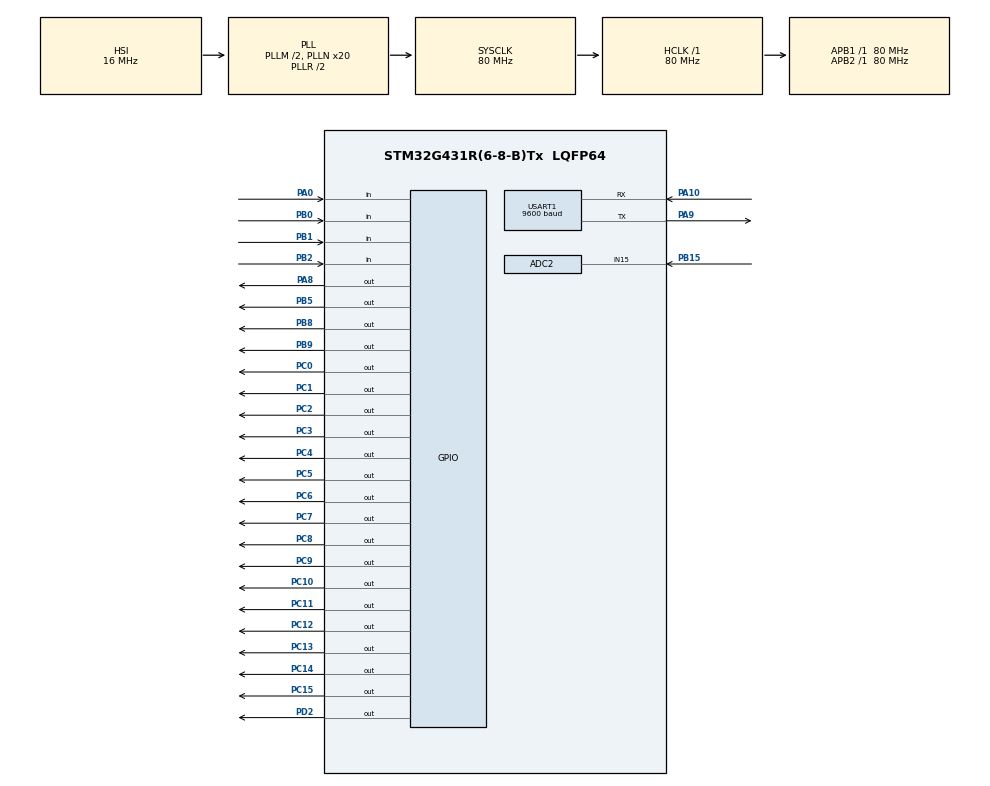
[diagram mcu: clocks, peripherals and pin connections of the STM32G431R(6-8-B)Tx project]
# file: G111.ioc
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ADC2.Channel-0\#ChannelRegularConversion=ADC_CHANNEL_15
ADC2.NbrOfConversionFlag=1
ADC2.OffsetNumber-0\#ChannelRegularConversion=ADC_OFFSET_NONE
ADC2.Rank-0\#ChannelRegularConversion=1
ADC2.SamplingTime-0\#ChannelRegularConversion=ADC_SAMPLETIME_2CYCLES_5
Mcu.Family=STM32G4
Mcu.Name=STM32G431R(6-8-B)Tx
Mcu.Package=LQFP64
NVIC.PriorityGroup=NVIC_PRIORITYGROUP_4
NVIC.USART1_IRQn=true\:0\:0\:false\:false\:true\:true\:true\:true
PA0.Signal=GPIO_Input
PA10.Mode=Asynchronous
PA10.Signal=USART1_RX
PA8.Signal=GPIO_Output
PA9.Mode=Asynchronous
PA9.Signal=USART1_TX
PB0.Signal=GPIO_Input
PB1.Signal=GPIO_Input
PB15.Mode=IN15-Single-Ended
PB15.Signal=ADC2_IN15
PB2.Signal=GPIO_Input
PB5.Signal=GPIO_Output
PB8-BOOT0.Signal=GPIO_Output
PB9.Signal=GPIO_Output
PC0.Signal=GPIO_Output
PC1.Signal=GPIO_Output
PC10.Signal=GPIO_Output
PC11.Signal=GPIO_Output
PC12.Signal=GPIO_Output
PC13.Signal=GPIO_Output
PC14-OSC32_IN.Signal=GPIO_Output
PC15-OSC32_OUT.Signal=GPIO_Output
PC2.Signal=GPIO_Output
PC3.Signal=GPIO_Output
PC4.Signal=GPIO_Output
PC5.Signal=GPIO_Output
PC6.Signal=GPIO_Output
PC7.Signal=GPIO_Output
PC8.Signal=GPIO_Output
PC9.Signal=GPIO_Output
PD2.Signal=GPIO_Output
PF0-OSC_IN.Mode=HSE-External-Oscillator
PF0-OSC_IN.Signal=RCC_OSC_IN
PF1-OSC_OUT.Mode=HSE-External-Oscillator
PF1-OSC_OUT.Signal=RCC_OSC_OUT
ProjectManager.HeapSize=0x200
ProjectManager.StackSize=0x400
ProjectManager.TargetToolchain=MDK-ARM V5
RCC.ADC12Freq_Value=80000000
RCC.AHBFreq_Value=80000000
RCC.APB1Freq_Value=80000000
RCC.APB1TimFreq_Value=80000000
RCC.APB2Freq_Value=80000000
RCC.APB2TimFreq_Value=80000000
RCC.CortexFreq_Value=80000000
RCC.EXTERNAL_CLOCK_VALUE=12288000
RCC.HCLKFreq_Value=80000000
RCC.HSE_VALUE=24000000
RCC.HSI48_VALUE=48000000
RCC.HSI_VALUE=16000000
RCC.LSE_VALUE=32768
RCC.PLLM=RCC_PLLM_DIV2
RCC.PLLN=20
RCC.SYSCLKFreq_VALUE=80000000
RCC.SYSCLKSource=RCC_SYSCLKSOURCE_PLLCLK
RCC.USBFreq_Value=80000000
RCC.VCOOutputFreq_Value=160000000
USART1.BaudRate=9600
USART1.VirtualMode-Asynchronous=VM_ASYNC
VP_SYS_VS_DBSignals.Mode=DisableDeadBatterySignals
board=custom

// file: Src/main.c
/* USER CODE BEGIN Header */
/**
  ******************************************************************************
  * @file           : main.c
  * @brief          : Main program body
  ******************************************************************************
  * @attention
  *
  * <h2><center>&copy; Copyright (c) 2021 STMicroelectronics.
  * All rights reserved.</center></h2>
  *
  * This software component is licensed by ST under BSD 3-Clause license,
  * the "License"; You may not use this file except in compliance with the
  * License. You may obtain a copy of the License at:
  *                        opensource.org/licenses/BSD-3-Clause
  *
  ******************************************************************************
  */
/* USER CODE END Header */

#include "main.h"
#include "adc.h"
#include "usart.h"
#include "gpio.h"

/* USER CODE BEGIN Includes */
#include "led.h"
#include "key.h"
#include "stdio.h"
#include "string.h"

/* USER CODE END Includes */

void SystemClock_Config(void);

/* USER CODE BEGIN 0 */

#define Display_Data 0
#define Display_Para 1

u8 Display_Mode = 0;

//1
_Bool tim_flag = 0; //0计时结束，1计时中

u32 sec = 0;
u32 sec_cnt = 0;

//2
double vmax_set = 3;
double vmin_set = 2;

double vmax_com = 3;
double vmin_com = 2;

//KEY
uint32_t keyTick = 0;
_Bool key_flag = 0;
void Key_Process(void)
{
	if(uwTick - keyTick < 20) return;
	keyTick = uwTick;

	Key_Read();

	if(Trg & 0x01)
	{
		LCD_Clear(Black);
		Display_Mode = (Display_Mode + 1)%2;

		if(Display_Mode == Display_Data)
		{
			if(vmax_set >= (vmin_set + 1))
			{
				vmax_com = vmax_set;
				vmin_com = vmin_set;
				key_flag = 0;
			}
			else
				key_flag = 1;
		}

		if(Display_Mode == Display_Para) // vmax_com,vmin_com 为确定参数，set为设置参数，在设置界面需要显示set。
		{
			vmax_set = vmax_com;
			vmin_set = vmin_com;//进入界面和退出界面值相反，即可实现退出界面生效
		}
	}

	if(Trg & 0x02)
	{
		if(Display_Mode == Display_Para)
		{
			vmax_set += 0.1;
			if(vmax_set > 3.31) //小数不精确问题
				vmax_set = 0;
		}
	}

	if(Trg & 0x04)
	{
		if(Display_Mode == Display_Para)
		{
			vmin_set += 0.1;
			if(vmin_set >3.31)
				vmin_set = 0;
		}
	}

	if(Trg & 0x08)
		Led_Control(0x08);
}

//ADC
u32 adc_val;
u32 val_sum = 0;
u8 val_cnt = 0;
//对于时间态变量，开始赋初值以防第一次上电误触发
double r37_v = 3.3;
double r37_v_pre = 3.3;

void ADC_Process(void)
{
	HAL_ADC_Start(&hadc2);
	adc_val = HAL_ADC_GetValue(&hadc2);

	val_cnt++;
	val_sum += adc_val;
	if(val_cnt == 10)
	{
		val_cnt = 0;
		r37_v = val_sum /10.0f/ 4095.0f*3.3f;//均值滤波
		val_sum = 0;
	}

}

//计时
//!!!
uint32_t timTick = 0; //判断上一时刻值和本时刻值时需要间隔一段时间，不然会误触发

void Time_Process(void)
{

	if(uwTick - timTick < 100) return; //100ms左右，和100ms之前的值对比 ,防止在电压一直下滑过程中重新计时误判
	timTick = uwTick;

	//先判断，再更新旧值
	if(r37_v_pre < vmin_com && r37_v >= vmin_com) //计时开始
	{
		sec = 0;
		sec_cnt = 0;
		tim_flag = 1;
	}

	if(r37_v_pre < vmax_com && r37_v >= vmax_com) //停止计时
	{
		tim_flag = 0;
	}

	r37_v_pre = r37_v;//记录上一次的adc

}

void SysTick_Handler(void)
{
  /* USER CODE BEGIN SysTick_IRQn 0 */

  /* USER CODE END SysTick_IRQn 0 */
  HAL_IncTick();
  /* USER CODE BEGIN SysTick_IRQn 1 */

	if(tim_flag == 1)
	{
		sec_cnt++;
		if(sec_cnt == 1000)
		{
			sec_cnt = 0;
			sec++;
		}
	}

  /* USER CODE END SysTick_IRQn 1 */
}

//UART
//发送

u8 tx_buf[] = {"你好\r\n"};
int fputc(int ch, FILE *f)
{
  /* Your implementation of fputc(). */
	HAL_UART_Transmit(&huart1,(u8 *)&ch,1,50);
  return ch;
}

//接受
u8 uart_buf[2];
u8 rx_cnt = 0;
u8 rx_buf[100];
_Bool uart_flag = 0;

uint32_t uartTick = 0;
void Rx_Idle(void)
{
	if(uwTick - uartTick < 50) return;
	uartTick = uwTick;

	if(rx_cnt > 0)
	{
		if(rx_cnt < 7)
		{
			uart_flag = 1;
			printf("length error!\r\n");
		}
		rx_cnt = 0;
		memset(rx_buf,'\0',sizeof(rx_buf));
	}
}

//3.2,1.4
//0123456
double vmax_temp;
double vmin_temp;

void HAL_UART_RxCpltCallback(UART_HandleTypeDef *huart)
{
	uartTick = uwTick;
	HAL_UART_Receive_IT(&huart1,uart_buf,1);

	rx_buf[rx_cnt++] = uart_buf[0];

	if(rx_cnt == 7)
	{
		rx_cnt = 0;
		//格式判断
		if(rx_buf[0] >='0' && rx_buf[2] <='9')
			if(rx_buf[4] >='0' && rx_buf[6] <='9')
				if(rx_buf[1] =='.' && rx_buf[5] =='.'&& rx_buf[3] == ',')
				{
					vmax_temp = (rx_buf[0]-'0') + (rx_buf[2]-'0')/10.0;
					vmin_temp = (rx_buf[4]-'0') + (rx_buf[6]-'0')/10.0;

					if(vmin_temp + 1 <= vmax_temp )
					{
						uart_flag = 0;
						vmax_com = vmax_set = vmax_temp ;
						vmin_com = vmin_set = vmin_temp ;
					}
					else
					{
						uart_flag = 1;
						printf("logic error!\r\n");
					}

				}
				else
				{
					uart_flag = 1;
					printf("form error!\r\n");
				}

			else
			{
				uart_flag = 1;
				printf("form error!\r\n");
			}

		else
		{
			uart_flag = 1;
			printf("form error!\r\n");
		}

	}

	//Led_Control(uart_buf[0]);
}

//LED
u8 led_ctrl = 0x00;
void LED_Process(void)
{
	if(tim_flag == 1)
		led_ctrl |= 0x01;
	else
		led_ctrl &= ~0x01;

	if(key_flag == 1)
		led_ctrl |= 0x02;
	else
		led_ctrl &= ~0x02;

	if(uart_flag == 1)
		led_ctrl |= 0x04;
	else
		led_ctrl &= ~0x04;

	Led_Control(led_ctrl);
}

//LCD
uint32_t lcdTick = 0;
void LCD_Process(void)
{
	if(uwTick - lcdTick < 50) return;
	lcdTick = uwTick;

	u8 display_buf[30];

	if(Display_Mode == Display_Data)
	{
		sprintf((char *)display_buf,"      Data  ");
		LCD_DisplayStringLine(Line0,display_buf);

		sprintf((char *)display_buf," V:%4.2fV  ",r37_v);
		LCD_DisplayStringLine(Line2,display_buf);

		sprintf((char *)display_buf," T:%ds    ",sec);
		LCD_DisplayStringLine(Line3,display_buf);
	}

	if(Display_Mode == Display_Para)
	{
		sprintf((char *)display_buf,"      Para  ");
		LCD_DisplayStringLine(Line0,display_buf);

		sprintf((char *)display_buf," Vmax:%3.1fV  ",vmax_set);
		LCD_DisplayStringLine(Line2,display_buf);

		sprintf((char *)display_buf," Vmin:%3.1fV  ",vmin_set);
		LCD_DisplayStringLine(Line3,display_buf);
	}

}
/* USER CODE END 0 */

int main(void)
{

  /* MCU Configuration--------------------------------------------------------*/

  /* Reset of all peripherals, Initializes the Flash interface and the Systick. */
  HAL_Init();

  /* Configure the system clock */
  SystemClock_Config();

  /* Initialize all configured peripherals */
  MX_GPIO_Init();
  MX_ADC2_Init();
  MX_USART1_UART_Init();
  /* USER CODE BEGIN 2 */

    LCD_Init();

		//UART

		HAL_UART_Receive_IT(&huart1,uart_buf,1);
  /* USER CODE END 2 */

  /* Infinite loop */
  /* USER CODE BEGIN WHILE */

    LCD_Clear(Black);
    LCD_SetBackColor(Black);
    LCD_SetTextColor(White);

//    LCD_DrawLine(120, 0, 320, Horizontal);
//    LCD_DrawLine(0, 160, 240, Vertical);
//    HAL_Delay(1000);
//    LCD_Clear(Blue);

//    LCD_DrawRect(70, 210, 100, 100);
//    HAL_Delay(1000);
//    LCD_Clear(Blue);

//    LCD_DrawCircle(120, 160, 50);
//    HAL_Delay(1000);

//    LCD_Clear(Blue);
//    LCD_DisplayStringLine(Line4, (unsigned char *)"    Hello,world.   ");
//    HAL_Delay(1000);

//    LCD_SetBackColor(White);
//    LCD_DisplayStringLine(Line0, (unsigned char *)"                    ");
//    LCD_SetBackColor(Black);
//    LCD_DisplayStringLine(Line1, (unsigned char *)"                    ");
//    LCD_SetBackColor(Grey);
//    LCD_DisplayStringLine(Line2, (unsigned char *)"                    ");
//    LCD_SetBackColor(Blue);
//    LCD_DisplayStringLine(Line3, (unsigned char *)"                    ");
//    LCD_SetBackColor(Blue2);
//    LCD_DisplayStringLine(Line4, (unsigned char *)"                    ");
//    LCD_SetBackColor(Red);
//    LCD_DisplayStringLine(Line5, (unsigned char *)"                    ");
//    LCD_SetBackColor(Magenta);
//    LCD_DisplayStringLine(Line6, (unsigned char *)"                    ");
//    LCD_SetBackColor(Green);
//    LCD_DisplayStringLine(Line7, (unsigned char *)"                    ");
//    LCD_SetBackColor(Cyan);
//    LCD_DisplayStringLine(Line8, (unsigned char *)"                    ");
//    LCD_SetBackColor(Yellow);
//    LCD_DisplayStringLine(Line9, (unsigned char *)"                    ");
		Led_Control(0x00);
		//HAL_UART_Transmit(&huart1,(u8 *)&tx_buf,sizeof(tx_buf)-1,50);
		//printf("hello\r\n");
    while (1) //while(1)中最多几毫秒
    {
    /* USER CODE END WHILE */

    /* USER CODE BEGIN 3 */

			Key_Process();
			ADC_Process();
			LCD_Process();
			LED_Process();
			Rx_Idle();
			Time_Process();

    }
  /* USER CODE END 3 */
}

void SystemClock_Config(void)
{
  RCC_OscInitTypeDef RCC_OscInitStruct = {0};
  RCC_ClkInitTypeDef RCC_ClkInitStruct = {0};
  RCC_PeriphCLKInitTypeDef PeriphClkInit = {0};

  /** Configure the main internal regulator output voltage
  */
  HAL_PWREx_ControlVoltageScaling(PWR_REGULATOR_VOLTAGE_SCALE1);
  /** Initializes the CPU, AHB and APB busses clocks
  */
  RCC_OscInitStruct.OscillatorType = RCC_OSCILLATORTYPE_HSI;
  RCC_OscInitStruct.HSIState = RCC_HSI_ON;
  RCC_OscInitStruct.HSICalibrationValue = RCC_HSICALIBRATION_DEFAULT;
  RCC_OscInitStruct.PLL.PLLState = RCC_PLL_ON;
  RCC_OscInitStruct.PLL.PLLSource = RCC_PLLSOURCE_HSI;
  RCC_OscInitStruct.PLL.PLLM = RCC_PLLM_DIV2;
  RCC_OscInitStruct.PLL.PLLN = 20;
  RCC_OscInitStruct.PLL.PLLP = RCC_PLLP_DIV2;
  RCC_OscInitStruct.PLL.PLLQ = RCC_PLLQ_DIV2;
  RCC_OscInitStruct.PLL.PLLR = RCC_PLLR_DIV2;
  if (HAL_RCC_OscConfig(&RCC_OscInitStruct) != HAL_OK)
  {
    Error_Handler();
  }
  /** Initializes the CPU, AHB and APB busses clocks
  */
  RCC_ClkInitStruct.ClockType = RCC_CLOCKTYPE_HCLK|RCC_CLOCKTYPE_SYSCLK
                              |RCC_CLOCKTYPE_PCLK1|RCC_CLOCKTYPE_PCLK2;
  RCC_ClkInitStruct.SYSCLKSource = RCC_SYSCLKSOURCE_PLLCLK;
  RCC_ClkInitStruct.AHBCLKDivider = RCC_SYSCLK_DIV1;
  RCC_ClkInitStruct.APB1CLKDivider = RCC_HCLK_DIV1;
  RCC_ClkInitStruct.APB2CLKDivider = RCC_HCLK_DIV1;

  if (HAL_RCC_ClockConfig(&RCC_ClkInitStruct, FLASH_LATENCY_3) != HAL_OK)
  {
    Error_Handler();
  }
  /** Initializes the peripherals clocks
  */
  PeriphClkInit.PeriphClockSelection = RCC_PERIPHCLK_USART1|RCC_PERIPHCLK_ADC12;
  PeriphClkInit.Usart1ClockSelection = RCC_USART1CLKSOURCE_PCLK2;
  PeriphClkInit.Adc12ClockSelection = RCC_ADC12CLKSOURCE_SYSCLK;
  if (HAL_RCCEx_PeriphCLKConfig(&PeriphClkInit) != HAL_OK)
  {
    Error_Handler();
  }
}

void Error_Handler(void)
{
}

/************************ (C) COPYRIGHT STMicroelectronics *****END OF FILE****/
